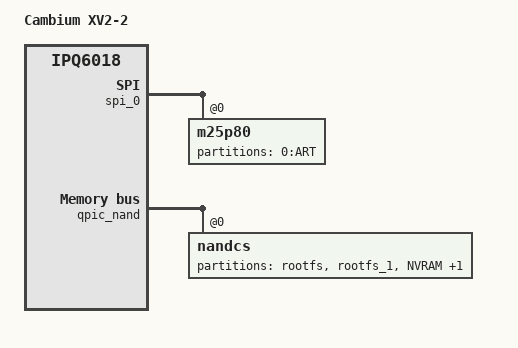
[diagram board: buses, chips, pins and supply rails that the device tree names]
// SPDX-License-Identifier: (GPL-2.0+ OR BSD-3-Clause)
/*
 * Cambium XV2-2 device tree source
 *
 * The base model of the family: Cambium's own codename for it is plain
 * "Jaguar" (/proc/sku 20), and the XV2-2T0 (22), XV2-2T1 (31) and XE3-4 (32)
 * are derived from it. So most of this board is already described by
 * qcom-ipq6018-cambium-xv2-2t.dtsi, and what follows is only where the
 * XV2-2 differs. Every value below was read from this unit itself: the OEM
 * device tree as the stock kernel received it (/sys/firmware/fdt) and a full
 * read-only flash dump.
 *
 * Four differences from the 2T, two of them inversions of what the sibling
 * boards needed:
 *
 *   - One ethernet port, not two. The OEM tree declares the whole CP01
 *     reference set dp1..dp5 and leaves the board to wire what it has; the
 *     single 2.5G port is OEM dp5 (switch port 5, PHY 0x18, wan_bmp 0x20),
 *     which the shared dtsi calls dp1. The dtsi's dp2 (switch port 4, PHY 3)
 *     does not exist here.
 *   - ethernet0, not ethernet1. The 2T/XE3-4 put the label MAC in ethaddr
 *     and label+1 in eth1addr, so the dtsi aliases the port as ethernet1 to
 *     collect eth1addr and 02_network subtracts one. On this unit eth1addr
 *     is all zeroes and ethaddr IS the label MAC (30:cb:c7:16:9f:9b, matching
 *     mfginfo), so the port must be ethernet0 or U-Boot's eth%daddr fixup
 *     stamps a zero MAC onto it, and nss-dp replaces an invalid MAC with a
 *     random one, which would give the unit a different uCentral serial on
 *     every boot. The OEM tree aliases dp1 as ethernet0 for the same reason,
 *     and U-Boot's fixup in the captured OEM tree shows it: the two nodes
 *     carrying a real address are dp1 (ethernet0, from ethaddr) and dp5
 *     (ethernet4, from eth4addr, which holds the same address); dp2..dp4 are
 *     zero, as eth1addr..eth3addr are. A zero node is not by itself proof
 *     that the fixup wrote it, but ethaddr landing on ethernet0 is.
 *   - 128 MiB NAND in two 52 MiB banks, not 256 MiB in two 96 MiB banks.
 *     ECC is unchanged (BCH4 over 512-byte steps).
 *   - 0:ART is 256 KiB here, not 512 KiB. The 16-entry NOR map is otherwise
 *     the dtsi's, environment included: 0:APPSBLENV is at 0x510000 on this
 *     unit, so qcom-ipq6018-cambium-nor-23.dtsi must NOT be included. That is
 *     the 2T1 trap in reverse - inheriting a sibling's map silently writes
 *     the environment to the wrong place - and it was checked against each
 *     partition's own offset under /sys/class/mtd on the live unit, not
 *     inferred from the firmware version.
 *
 * Copyright (c) 2019-2021 The Linux Foundation. All rights reserved.
 */

/dts-v1/;

#include "qcom-ipq6018-cambium-xv2-2t.dtsi"

/ {
	model = "Cambium XV2-2";
	compatible = "cambium,xv2-2", "qcom,ipq6018-ap-cp01", "qcom,ipq6018";

	aliases {
		/*
		 * See the header: this board's port carries ethaddr, not
		 * eth1addr, so it is ethernet0. Dropping the dtsi's ethernet1
		 * matters as much as adding ethernet0 - left in place it would
		 * point a second alias at the same node.
		 */
		/delete-property/ ethernet1;
		ethernet0 = "/soc/dp1";
	};
};

&tlmm {
	/*
	 * GPIO 20 is TrustZone-owned on the sibling XE3-4, where leaving it
	 * visible made gpiolib's probe-time get_direction() sweep take a
	 * synchronous external abort inside msm_gpio_get_direction(), before
	 * the console was even registered; the board then rebooted on the
	 * panic timeout with nothing printed, looking exactly like a failed
	 * bootloader handoff. Whether this board's TrustZone claims the same
	 * line is not established, but GPIO 20 is referenced nowhere in the
	 * OEM tree or in ours, so reserving it costs nothing and removes the
	 * only failure mode in this family that leaves no evidence.
	 */
	gpio-reserved-ranges = <20 1>;
};

&soc {
	/* Single-port board: the dtsi's second datapath has no PHY here. */
	/delete-node/ dp2;
};

&spi_0 {
	m25p80@0 {
		/*
		 * 0:ART is 0x40000 on this unit against the 2T's 0x80000, so
		 * the 16 partitions end at 0x6a0000 and the rest of the 16 MB
		 * chip is unpartitioned. ath11k's caldata sits at the start of
		 * the partition, so the size is a correctness fix rather than a
		 * functional one - but a map that does not match the flash is
		 * how this family hides its mistakes.
		 */
		partition@660000 {
			label = "0:ART";
			reg = <0x660000 0x40000>;
			read-only;
		};
	};
};

&qpic_nand {
	nandcs@0 {
		/*
		 * 128 MiB (Winbond W29N01HZ), two 52 MiB A/B banks. The dtsi's
		 * 96 MiB banks are three partitions at different offsets, so
		 * they are deleted rather than overridden; partition@0 keeps
		 * its name and only changes size. Map transcribed from this
		 * unit's own /proc/mtd and confirmed against the OEM device
		 * tree. Bank A (rootfs) is the one stock runs from here - the
		 * environment has image=0 - so our image belongs in bank B.
		 */
		/delete-node/ partition@6000000;
		/delete-node/ partition@c000000;
		/delete-node/ partition@f000000;

		partition@0 {
			label = "rootfs";
			reg = <0x0 0x3400000>;
		};

		partition@3400000 {
			label = "rootfs_1";
			reg = <0x3400000 0x3400000>;
		};

		partition@6800000 {
			label = "NVRAM";
			reg = <0x6800000 0x1000000>;
		};

		partition@7800000 {
			label = "crashLog";
			reg = <0x7800000 0x800000>;
		};
	};
};

/*
 * LED GPIOs are unchanged: the OEM cambium_platform node carries
 * led-gpio = <73 56 37 35> on this board exactly as on the 2T, so the
 * dtsi's led2/led3/led4 (56/37/35) apply as they stand. The colours still
 * cannot be determined offline, hence the neutral labels. The OEM tree also
 * has a gpio-leds node with a USB LED on GPIO 50, which this board has and
 * the 2T does not; it is left out until the port is otherwise working.
 */
&led_running {
	label = "xv2-2:led2";
};

&led_boot {
	label = "xv2-2:led3";
};

&led_connected {
	label = "xv2-2:led4";
};
